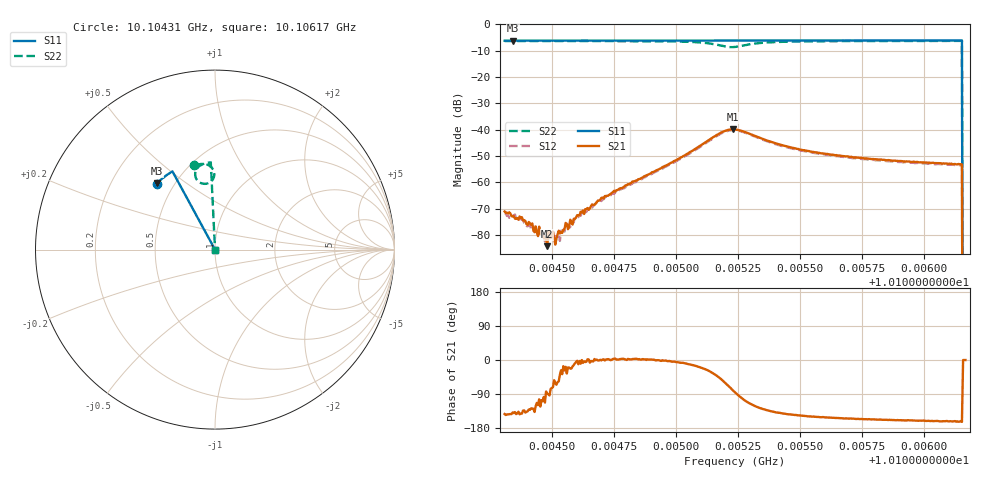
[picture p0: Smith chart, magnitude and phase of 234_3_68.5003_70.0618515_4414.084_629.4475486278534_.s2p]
#  HZ  S  RI  R  50.00
! Rohde & Schwarz Vector Network Analyzer
! Rohde-Schwarz,ZNB20-2Port,1311601062101988,3.16
! Created: UTC 3/20/2024, 5:14:11 PM
! freq[Hz]  re:S11  im:S11  re:S21  im:S21  re:S12  im:S12  re:S22  im:S22
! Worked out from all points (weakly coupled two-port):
!   401 points, 10.10431 GHz to 10.10617 GHz, reference 50 ohm
!   highest |S21| = -39.88 dB at 10.10523 GHz (marker M1); lowest = -84.2 dB at 10.10448 GHz (marker M2)
!   lowest |S11| = -6.2 dB at 10.10434 GHz (marker M3), VSWR 2.93, Z = 20.1 + j19.6 ohm
!   |S11| at or under -10 dB: 10.10615 GHz to end of sweep
!   |S22| runs from - to -6.3 dB; largest |S21 - S12| = 0.0011
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1.010431e10  -0.3259 0.3682  -0.000223 -0.00017  -0.000196 -0.000165  -0.1168 0.4695
1.0104343e10  -0.3243 0.3695  -0.000169 -0.000149  -0.000155 -0.000174  -0.1142 0.4703
1.010438e10  -0.3226 0.3712  -0.000171 -0.000136  -0.000126 -0.00015  -0.1114 0.4709
1.0104412e10  -0.3211 0.3726  -0.000111 -0.000125  -6.37e-05 -0.000148  -0.1092 0.4715
1.0104435e10  -0.3201 0.3736  -7.63e-05 -0.000124  -6.97e-05 -9.98e-05  -0.1073 0.4719
1.0104454e10  -0.3193 0.3743  -5.8e-05 -8.98e-05  -2.71e-05 -0.000102  -0.1058 0.4723
1.0104473e10  -0.3184 0.3749  -3.42e-05 -8.36e-05  -5.94e-06 -7.52e-05  -0.1043 0.4726
1.0104482e10  -0.318 0.3755  1.38e-06 -6.15e-05  -1.27e-05 -7.19e-05  -0.1037 0.4728
1.0104524e10  -0.3162 0.3772  5.44e-05 -8.82e-05  7.14e-05 -5.91e-05  -0.1002 0.4735
1.0104542e10  -0.3152 0.3779  8.75e-05 -6.67e-05  9.41e-05 -7.44e-05  -0.0986 0.4738
1.0104621e10  -0.3117 0.3811  0.000269 -7.11e-07  0.000265 6.16e-07  -0.092 0.4752
1.0104709e10  -0.3078 0.3847  0.000496 1.54e-05  0.000475 7.39e-05  -0.0838 0.4763
1.0104932e10  -0.2973 0.3935  0.00178 -2.37e-05  0.00169 0.00014  -0.0555 0.4762
1.0105174e10  -0.2854 0.4024  0.00587 -0.00597  0.00618 -0.00512  -0.00627 0.4036
1.0105229e10  -0.2831 0.4038  0.00184 -0.00997  0.00278 -0.00943  -0.0558 0.3662
1.0105239e10  -0.2826 0.4042  0.000802 -0.0101  0.00177 -0.00962  -0.0674 0.3672
1.0105299e10  -0.2801 0.4064  -0.00353 -0.00753  -0.00274 -0.00762  -0.1088 0.4057
1.010541e10  -0.2748 0.4109  -0.00404 -0.00356  -0.00356 -0.00375  -0.0989 0.4537
1.010555e10  -0.2679 0.4159  -0.00327 -0.00193  -0.00298 -0.00214  -0.0781 0.4714
1.0105861e10  -0.2522 0.4266  -0.00244 -0.000993  -0.00226 -0.00113  -0.0466 0.4824
1.0106144e10  -0.2375 0.4356  -0.00212 -0.000665  -0.00196 -0.000821  -0.0242 0.486
1.0106167e10  0 0  0 0  0 0  0 0
